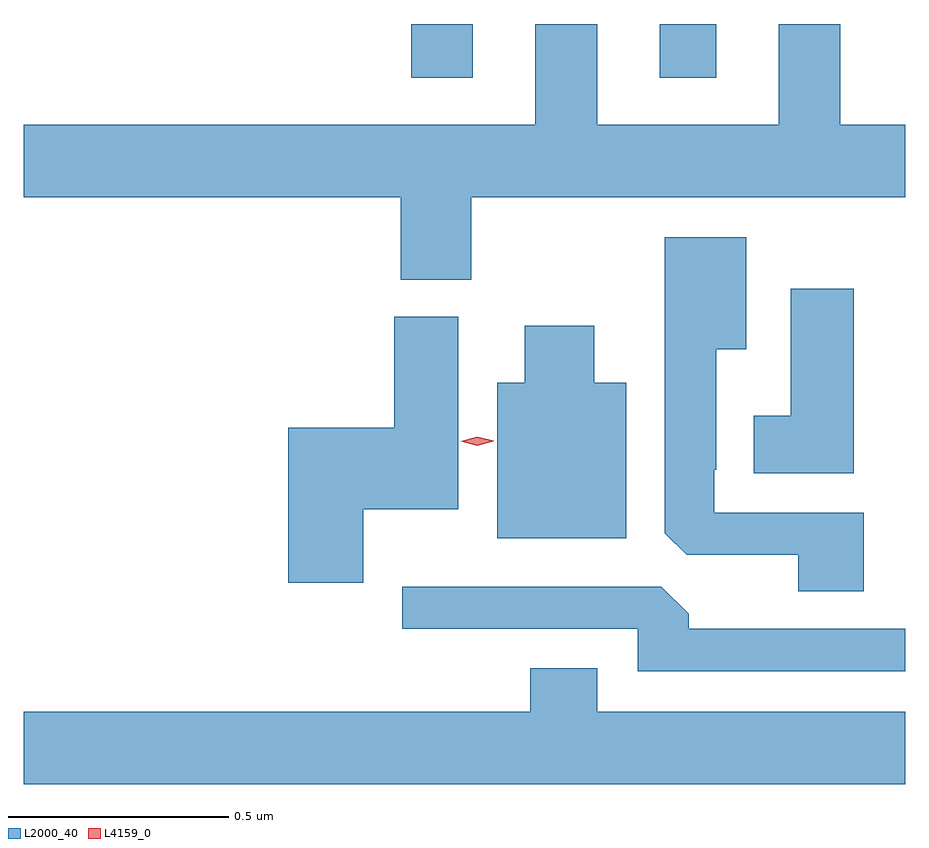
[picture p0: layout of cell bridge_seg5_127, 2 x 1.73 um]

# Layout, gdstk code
import gdstk
lib = gdstk.Library(unit=1e-6, precision=1e-09)
def R(c, l, rs):  # rectangles x0, y0, x1, y1
    for r in rs: c.add(gdstk.rectangle(r[:2], r[2:], *l))
def P(c, l, *ps):  # polygons
    for p in ps: c.add(gdstk.Polygon(p, *l))
L2000_40 = (2000, 40)
L4159_0 = (4159, 0)

bridge_seg5_127 = lib.new_cell('bridge_seg5_127')
R(bridge_seg5_127, L2000_40, [(461.981,882.339,462.121,882.461), (462.545,882.339,462.673,882.461)])
P(bridge_seg5_127, L2000_40, [(462.117,882.068),(463.102,882.068),(463.102,882.232),(462.955,882.232),(462.955,882.461),(462.815,882.461),(462.815,882.232),(462.403,882.232),(462.403,882.461),(462.263,882.461),(462.263,882.232),(461.102,882.232),(461.102,882.068),(461.957,882.068),(461.957,881.881),(462.117,881.881)],
  [(463.008,881.352),(462.669,881.352),(462.669,881.449),(462.673,881.449),(462.673,881.723),(462.742,881.723),(462.742,881.977),(462.557,881.977),(462.557,881.305),(462.606,881.256),(462.86,881.256),(462.86,881.173),(463.008,881.173)],
  [(462.985,881.86),(462.842,881.86),(462.842,881.572),(462.758,881.572),(462.758,881.441),(462.985,881.441)],
  [(461.872,881.36),(462.088,881.36),(462.088,881.796),(461.942,881.796),(461.942,881.545),(461.702,881.545),(461.702,881.193),(461.872,881.193)],
  [(462.469,881.647),(462.397,881.647),(462.397,881.776),(462.239,881.776),(462.239,881.647),(462.176,881.647),(462.176,881.294),(462.469,881.294)],
  [(463.102,881.088),(462.611,881.088),(462.611,881.122),(462.549,881.184),(461.961,881.184),(461.961,881.088),(462.495,881.088),(462.495,880.992),(463.102,880.992)],
  [(463.102,880.9),(462.403,880.9),(462.403,880.999),(462.251,880.999),(462.251,880.9),(461.102,880.9),(461.102,880.736),(463.102,880.736)])
P(bridge_seg5_127, L4159_0, [(462.131,881.504),(462.094,881.514),(462.093,881.514),(462.094,881.514),(462.131,881.524),(462.168,881.515),(462.168,881.515),(462.168,881.514)])

lib.write_gds('bridge_seg5_127.gds')
